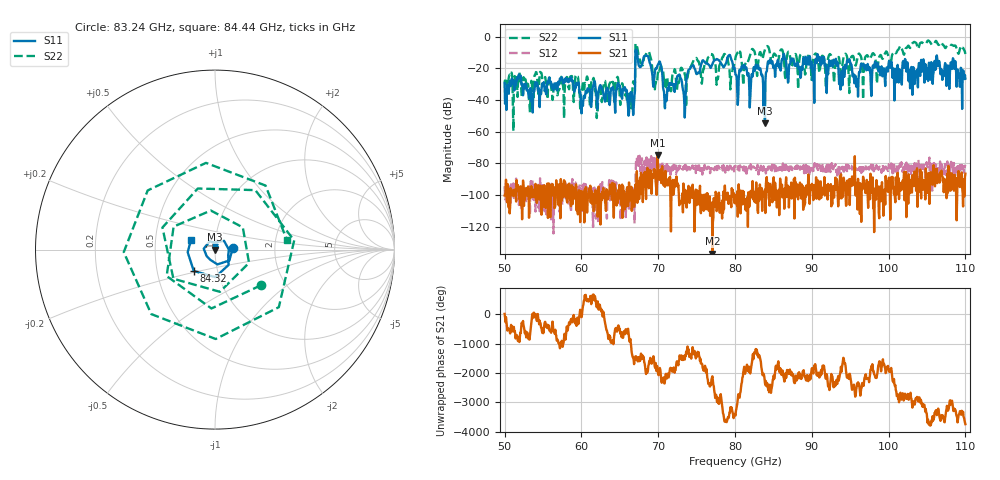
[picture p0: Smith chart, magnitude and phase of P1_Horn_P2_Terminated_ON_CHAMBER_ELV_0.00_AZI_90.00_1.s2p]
! 11/26/2026 11:10:06 AM
! C:\ANRITSUVNA\TEMP\TEMP.S2P
! CHANNEL.1
! TR.MEASUREMENT
! RAW.DATA
# HZ S RI R 50.0
! FREQ.HZ  S11RE  S11IM  S21RE  S21IM  S12RE  S12IM  S22RE  S22IM
!; PortSelection: Port_12
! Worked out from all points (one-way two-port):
!   1001 points, 50 GHz to 110 GHz, reference 50 ohm
!   highest |S21| = -74.80 dB at 69.92 GHz (marker M1); lowest = -137.0 dB at 77.06 GHz (marker M2)
!   lowest |S11| = -54.8 dB at 83.9 GHz (marker M3), VSWR 1.00, Z = 49.8 + j0.0357 ohm
!   |S11| at or under -10 dB: start of sweep to 67.04 GHz; 67.24 GHz to end of sweep
!   |S22| runs from -59.6 to -2.4 dB; largest |S21 - S12| = 0.00021
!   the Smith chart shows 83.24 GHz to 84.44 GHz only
!   S11 on the Smith chart (normalised r, x): 83.24 GHz: 1.22, +0.02; 84.32 GHz: 0.77, -0.19; 84.44 GHz: 0.76, +0.08
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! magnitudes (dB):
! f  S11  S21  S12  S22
! 50 GHz  -29.4  -100.3  -94.5  -27.6
! 58.46 GHz  -27.0  -94.8  -94.8  -28.6
! 60.02 GHz  -48.4  -97.7  -103.6  -34.2
! 66.26 GHz  -39.6  -96.9  -104.2  -36.1
! 66.68 GHz  -43.0  -96.8  -95.7  -30.4
! 67.34 GHz  -13.7  -99.2  -78.6  -8.5
! 69.92 GHz  -18.0  -74.8  -91.5  -24.6
! 70.04 GHz  -17.1  -86.2  -84.0  -20.9
! 71.06 GHz  -40.7  -90.1  -84.9  -29.8
! 77.06 GHz  -17.0  -137.0  -84.1  -11.2
! 77.78 GHz  -14.4  -103.6  -81.6  -26.4
! 80 GHz  -21.3  -100.8  -82.2  -15.4
! 83.24 GHz  -20.1  -93.4  -85.2  -9.8
! 83.9 GHz  -54.8  -96.6  -82.5  -8.0
! 84.32 GHz  -15.5  -92.5  -84.0  -6.3
! 84.44 GHz  -16.8  -103.1  -82.0  -7.9
! 90.02 GHz  -16.0  -93.0  -82.4  -23.9
! 94.88 GHz  -14.2  -89.9  -83.4  -35.6
! 95.78 GHz  -31.5  -92.3  -83.2  -17.2
! 100 GHz  -15.6  -89.1  -80.6  -13.5
! 103.3 GHz  -20.5  -94.4  -86.2  -3.4
! 110 GHz  -26.4  -86.6  -81.0  -10.9
